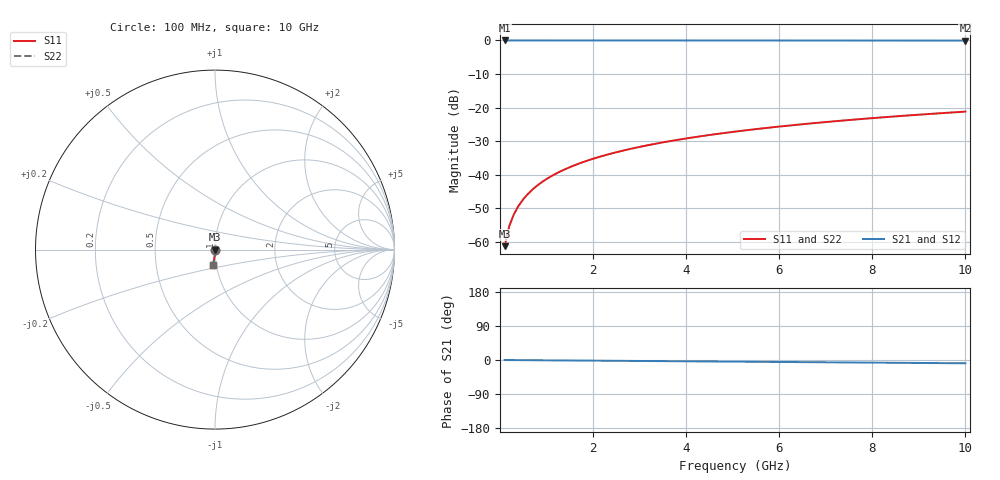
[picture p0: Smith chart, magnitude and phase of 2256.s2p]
# Hz S RI R 50.00
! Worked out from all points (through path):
!   100 points, 100 MHz to 10 GHz, reference 50 ohm
!   highest |S21| = 0.00 dB at 100 MHz (marker M1); lowest = 0.0 dB at 10 GHz (marker M2)
!   group delay of S21, straight-line fit = 2.41 ps
!   lowest |S11| = -61.2 dB at 100 MHz (marker M3), VSWR 1.00, Z = 50 - j0.0867 ohm
!   |S11| at or under -10 dB: start of sweep to end of sweep
!   |S22| runs from -61.2 to -21.2 dB; largest |S21 - S12| = 0
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1e8  7.68e-05 -0.000867  0.9999 -0.0015  0.9999 -0.0015  7.68e-05 -0.000867
2e8  7.23e-05 -0.00173  0.9999 -0.00299  0.9999 -0.00299  7.23e-05 -0.00173
3e8  6.51e-05 -0.0026  0.9999 -0.00449  0.9999 -0.00449  6.51e-05 -0.0026
4e8  5.52e-05 -0.00347  0.9999 -0.00599  0.9999 -0.00599  5.52e-05 -0.00347
5e8  4.27e-05 -0.00433  0.9999 -0.00748  0.9999 -0.00748  4.27e-05 -0.00433
6e8  2.75e-05 -0.0052  0.9999 -0.00898  0.9999 -0.00898  2.75e-05 -0.0052
7e8  9.75e-06 -0.00607  0.9998 -0.0105  0.9998 -0.0105  9.75e-06 -0.00607
8e8  -1.07e-05 -0.00694  0.9998 -0.012  0.9998 -0.012  -1.07e-05 -0.00694
9e8  -3.37e-05 -0.0078  0.9998 -0.0135  0.9998 -0.0135  -3.37e-05 -0.0078
1.1e9  -8.76e-05 -0.00954  0.9997 -0.0165  0.9997 -0.0165  -8.76e-05 -0.00954
1.4e9  -0.000188 -0.0121  0.9996 -0.021  0.9996 -0.021  -0.000188 -0.0121
1.8e9  -0.000359 -0.0156  0.9994 -0.027  0.9994 -0.027  -0.000359 -0.0156
2.1e9  -0.000514 -0.0182  0.9992 -0.0315  0.9992 -0.0315  -0.000514 -0.0182
2.5e9  -0.000759 -0.0217  0.9989 -0.0375  0.9989 -0.0375  -0.000759 -0.0217
2.9e9  -0.00105 -0.0252  0.9986 -0.0435  0.9986 -0.0435  -0.00105 -0.0252
3.4e9  -0.00146 -0.0295  0.9981 -0.051  0.9981 -0.051  -0.00146 -0.0295
4.2e9  -0.00227 -0.0365  0.9972 -0.0631  0.9972 -0.0631  -0.00227 -0.0365
5.1e9  -0.00338 -0.0443  0.9959 -0.0766  0.9959 -0.0766  -0.00338 -0.0443
5.9e9  -0.00455 -0.0513  0.9946 -0.0887  0.9946 -0.0887  -0.00455 -0.0513
6.7e9  -0.00589 -0.0582  0.993 -0.1007  0.993 -0.1007  -0.00589 -0.0582
8.4e9  -0.0093 -0.0728  0.9891 -0.1263  0.9891 -0.1263  -0.0093 -0.0728
1e10  -0.0132 -0.0863  0.9846 -0.1503  0.9846 -0.1503  -0.0132 -0.0863
